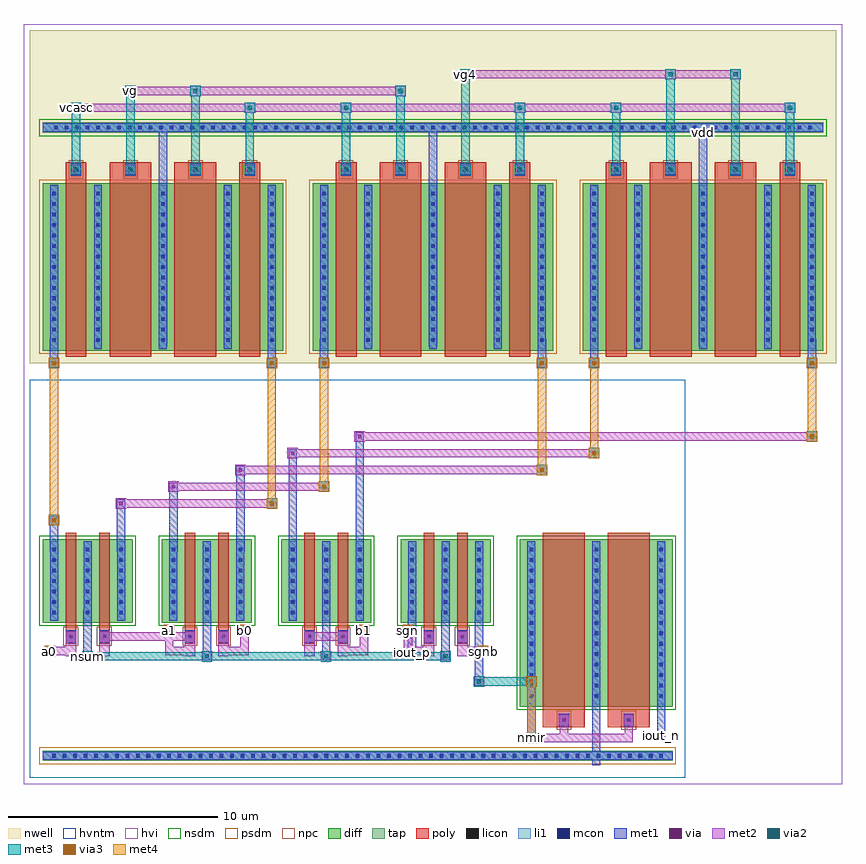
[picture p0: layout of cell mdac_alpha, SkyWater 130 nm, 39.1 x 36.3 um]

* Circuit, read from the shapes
.subckt mdac_alpha a0 a1 b0 b1 iout_n iout_p nmir nsum sgn sgnb vcasc vdd vg vg4
XM1 nsum a0 n1 VSUBS sky130_fd_pr__nfet_g5v0d10v5 w=4 l=0.5
XM2 n2 a1 nsum VSUBS sky130_fd_pr__nfet_g5v0d10v5 w=4 l=0.5
XM3 nsum a1 n3 VSUBS sky130_fd_pr__nfet_g5v0d10v5 w=4 l=0.5
XM4 n4 b0 nsum VSUBS sky130_fd_pr__nfet_g5v0d10v5 w=4 l=0.5
XM5 nsum b1 n5 VSUBS sky130_fd_pr__nfet_g5v0d10v5 w=4 l=0.5
XM6 n6 b1 nsum VSUBS sky130_fd_pr__nfet_g5v0d10v5 w=4 l=0.5
XM7 nsum sgn iout_p VSUBS sky130_fd_pr__nfet_g5v0d10v5 w=4 l=0.5
XM8 nmir sgnb nsum VSUBS sky130_fd_pr__nfet_g5v0d10v5 w=4 l=0.5
XM9 VSUBS nmir nmir VSUBS sky130_fd_pr__nfet_g5v0d10v5 w=8 l=2
XM10 iout_n nmir VSUBS VSUBS sky130_fd_pr__nfet_g5v0d10v5 w=8 l=2
XM11 n7 vcasc n1 vdd sky130_fd_pr__pfet_g5v0d10v5 w=8 l=1
XM12 vdd vg n7 vdd sky130_fd_pr__pfet_g5v0d10v5 w=8 l=2
XM13 n8 vg vdd vdd sky130_fd_pr__pfet_g5v0d10v5 w=8 l=2
XM14 n2 vcasc n8 vdd sky130_fd_pr__pfet_g5v0d10v5 w=8 l=1
XM15 n9 vcasc n3 vdd sky130_fd_pr__pfet_g5v0d10v5 w=8 l=1
XM16 vdd vg n9 vdd sky130_fd_pr__pfet_g5v0d10v5 w=8 l=2
XM17 n10 vg4 vdd vdd sky130_fd_pr__pfet_g5v0d10v5 w=8 l=2
XM18 n4 vcasc n10 vdd sky130_fd_pr__pfet_g5v0d10v5 w=8 l=1
XM19 n11 vcasc n5 vdd sky130_fd_pr__pfet_g5v0d10v5 w=8 l=1
XM20 vdd vg4 n11 vdd sky130_fd_pr__pfet_g5v0d10v5 w=8 l=2
XM21 n12 vg4 vdd vdd sky130_fd_pr__pfet_g5v0d10v5 w=8 l=2
XM22 n6 vcasc n12 vdd sky130_fd_pr__pfet_g5v0d10v5 w=8 l=1
.ends

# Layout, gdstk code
import gdstk
lib = gdstk.Library(unit=1e-6, precision=1e-09)
def R(c, l, rs):  # rectangles x0, y0, x1, y1
    for r in rs: c.add(gdstk.rectangle(r[:2], r[2:], *l))
def A(c, l, x, y, w, h, nx, ny, dx, dy):  # array of equal rectangles
    R(c, l, [(x+i*dx, y+j*dy, x+i*dx+w, y+j*dy+h) for i in range(nx) for j in range(ny)])
nwell = (64, 20)
diff = (65, 20)
tap = (65, 44)
poly = (66, 20)
licon = (66, 44)
li1 = (67, 20)
mcon = (67, 44)
met1 = (68, 20)
via = (68, 44)
met2 = (69, 20)
via2 = (69, 44)
met3 = (70, 20)
via3 = (70, 44)
met4 = (71, 20)
hvi = (75, 20)
nsdm = (93, 44)
psdm = (94, 20)
npc = (95, 20)
hvntm = (125, 20)

mdac_alpha = lib.new_cell('mdac_alpha')
R(mdac_alpha, nwell, [(0.4,2.4,38.9,18.3)])
A(mdac_alpha, diff, 1, -10, 4.3, 4, 4, 1, 5.7, 0)
A(mdac_alpha, diff, 1, 3, 11.5, 8, 3, 1, 12.9, 0)
R(mdac_alpha, diff, [(23.8,-14,31.1,-6)])
R(mdac_alpha, tap, [(1,-16.6,31.1,-16.1), (1,13.4,38.3,13.9)])
R(mdac_alpha, poly, [(24.9,-15,26.9,-14.3), (28,-15,30,-14.3), (24.9,-14.3,26.9,-5.7), (28,-14.3,30,-5.7), (2.1,-11,2.6,-10.3), (3.7,-11,4.2,-10.3), (7.8,-11,8.3,-10.3), (9.4,-11,9.9,-10.3), (13.5,-11,14,-10.3), (15.1,-11,15.6,-10.3), (19.2,-11,19.7,-10.3), (20.8,-11,21.3,-10.3), (2.1,-10.3,2.6,-5.7), (3.7,-10.3,4.2,-5.7), (7.8,-10.3,8.3,-5.7), (9.4,-10.3,9.9,-5.7), (13.5,-10.3,14,-5.7), (15.1,-10.3,15.6,-5.7), (19.2,-10.3,19.7,-5.7), (20.8,-10.3,21.3,-5.7), (2.1,2.7,3.1,12), (4.2,2.7,6.2,12), (7.3,2.7,9.3,12), (10.4,2.7,11.4,12), (15,2.7,16,12), (17.1,2.7,19.1,12), (20.2,2.7,22.2,12), (23.3,2.7,24.3,12), (27.9,2.7,28.9,12), (30,2.7,32,12), (33.1,2.7,35.1,12), (36.2,2.7,37.2,12)])
A(mdac_alpha, licon, 1.465, -16.435, 0.17, 0.17, 59, 1, 0.5, 0)
A(mdac_alpha, licon, 24.265, -13.585, 0.17, 0.17, 3, 15, 3.1, 0.5)
A(mdac_alpha, licon, 1.465, -9.585, 0.17, 0.17, 3, 7, 1.6, 0.5)
A(mdac_alpha, licon, 7.165, -9.585, 0.17, 0.17, 3, 7, 1.6, 0.5)
A(mdac_alpha, licon, 12.865, -9.585, 0.17, 0.17, 3, 7, 1.6, 0.5)
A(mdac_alpha, licon, 18.565, -9.585, 0.17, 0.17, 3, 7, 1.6, 0.5)
A(mdac_alpha, licon, 1.465, 3.415, 0.17, 0.17, 1, 15, 0, 0.5)
A(mdac_alpha, licon, 3.565, 3.415, 0.17, 0.17, 3, 15, 3.1, 0.5)
A(mdac_alpha, licon, 11.865, 3.415, 0.17, 0.17, 1, 15, 0, 0.5)
A(mdac_alpha, licon, 14.365, 3.415, 0.17, 0.17, 1, 15, 0, 0.5)
A(mdac_alpha, licon, 16.465, 3.415, 0.17, 0.17, 3, 15, 3.1, 0.5)
A(mdac_alpha, licon, 24.765, 3.415, 0.17, 0.17, 1, 15, 0, 0.5)
A(mdac_alpha, licon, 27.265, 3.415, 0.17, 0.17, 1, 15, 0, 0.5)
A(mdac_alpha, licon, 29.365, 3.415, 0.17, 0.17, 3, 15, 3.1, 0.5)
A(mdac_alpha, licon, 37.665, 3.415, 0.17, 0.17, 1, 15, 0, 0.5)
A(mdac_alpha, licon, 1.565, 13.565, 0.17, 0.17, 73, 1, 0.5, 0)
R(mdac_alpha, licon, [(25.815,-14.735,25.985,-14.565), (28.915,-14.735,29.085,-14.565), (2.265,-10.735,2.435,-10.565), (3.865,-10.735,4.035,-10.565), (7.965,-10.735,8.135,-10.565), (9.565,-10.735,9.735,-10.565), (13.665,-10.735,13.835,-10.565), (15.265,-10.735,15.435,-10.565), (19.365,-10.735,19.535,-10.565), (20.965,-10.735,21.135,-10.565), (2.515,11.565,2.685,11.735), (5.115,11.565,5.285,11.735), (8.215,11.565,8.385,11.735), (10.815,11.565,10.985,11.735), (15.415,11.565,15.585,11.735), (18.015,11.565,18.185,11.735), (21.115,11.565,21.285,11.735), (23.715,11.565,23.885,11.735), (28.315,11.565,28.485,11.735), (30.915,11.565,31.085,11.735), (34.015,11.565,34.185,11.735), (36.615,11.565,36.785,11.735)])
A(mdac_alpha, li1, 24.16, -13.9, 0.38, 7.8, 3, 1, 3.1, 0)
A(mdac_alpha, li1, 1.36, -9.9, 0.38, 3.8, 3, 1, 1.6, 0)
A(mdac_alpha, li1, 7.06, -9.9, 0.38, 3.8, 3, 1, 1.6, 0)
A(mdac_alpha, li1, 12.76, -9.9, 0.38, 3.8, 3, 1, 1.6, 0)
A(mdac_alpha, li1, 18.46, -9.9, 0.38, 3.8, 3, 1, 1.6, 0)
A(mdac_alpha, li1, 3.46, 3.1, 0.38, 7.8, 3, 1, 3.1, 0)
A(mdac_alpha, li1, 16.36, 3.1, 0.38, 7.8, 3, 1, 3.1, 0)
A(mdac_alpha, li1, 29.26, 3.1, 0.38, 7.8, 3, 1, 3.1, 0)
R(mdac_alpha, li1, [(1,-16.55,31.1,-16.15), (25.65,-14.95,26.15,-14.35), (28.75,-14.95,29.25,-14.35), (2.1,-10.95,2.6,-10.35), (3.7,-10.95,4.2,-10.35), (7.8,-10.95,8.3,-10.35), (9.4,-10.95,9.9,-10.35), (13.5,-10.95,14,-10.35), (15.1,-10.95,15.6,-10.35), (19.2,-10.95,19.7,-10.35), (20.8,-10.95,21.3,-10.35), (1.36,3.1,1.74,10.9), (11.76,3.1,12.14,10.9), (14.26,3.1,14.64,10.9), (24.66,3.1,25.04,10.9), (27.16,3.1,27.54,10.9), (37.56,3.1,37.94,10.9), (2.35,11.35,2.85,11.95), (4.95,11.35,5.45,11.95), (8.05,11.35,8.55,11.95), (10.65,11.35,11.15,11.95), (15.25,11.35,15.75,11.95), (17.85,11.35,18.35,11.95), (20.95,11.35,21.45,11.95), (23.55,11.35,24.05,11.95), (28.15,11.35,28.65,11.95), (30.75,11.35,31.25,11.95), (33.85,11.35,34.35,11.95), (36.45,11.35,36.95,11.95), (1,13.45,38.3,13.85)])
A(mdac_alpha, mcon, 1.465, -16.435, 0.17, 0.17, 59, 1, 0.5, 0)
A(mdac_alpha, mcon, 24.265, -13.585, 0.17, 0.17, 3, 15, 3.1, 0.5)
A(mdac_alpha, mcon, 1.465, -9.585, 0.17, 0.17, 3, 7, 1.6, 0.5)
A(mdac_alpha, mcon, 7.165, -9.585, 0.17, 0.17, 3, 7, 1.6, 0.5)
A(mdac_alpha, mcon, 12.865, -9.585, 0.17, 0.17, 3, 7, 1.6, 0.5)
A(mdac_alpha, mcon, 18.565, -9.585, 0.17, 0.17, 3, 7, 1.6, 0.5)
A(mdac_alpha, mcon, 1.465, 3.415, 0.17, 0.17, 1, 15, 0, 0.5)
A(mdac_alpha, mcon, 3.565, 3.415, 0.17, 0.17, 3, 15, 3.1, 0.5)
A(mdac_alpha, mcon, 11.865, 3.415, 0.17, 0.17, 1, 15, 0, 0.5)
A(mdac_alpha, mcon, 14.365, 3.415, 0.17, 0.17, 1, 15, 0, 0.5)
A(mdac_alpha, mcon, 16.465, 3.415, 0.17, 0.17, 3, 15, 3.1, 0.5)
A(mdac_alpha, mcon, 24.765, 3.415, 0.17, 0.17, 1, 15, 0, 0.5)
A(mdac_alpha, mcon, 27.265, 3.415, 0.17, 0.17, 1, 15, 0, 0.5)
A(mdac_alpha, mcon, 29.365, 3.415, 0.17, 0.17, 3, 15, 3.1, 0.5)
A(mdac_alpha, mcon, 37.665, 3.415, 0.17, 0.17, 1, 15, 0, 0.5)
A(mdac_alpha, mcon, 1.565, 13.565, 0.17, 0.17, 73, 1, 0.5, 0)
R(mdac_alpha, mcon, [(25.815,-14.735,25.985,-14.565), (28.915,-14.735,29.085,-14.565), (2.265,-10.735,2.435,-10.565), (3.865,-10.735,4.035,-10.565), (7.965,-10.735,8.135,-10.565), (9.565,-10.735,9.735,-10.565), (13.665,-10.735,13.835,-10.565), (15.265,-10.735,15.435,-10.565), (19.365,-10.735,19.535,-10.565), (20.965,-10.735,21.135,-10.565), (2.515,11.565,2.685,11.735), (5.115,11.565,5.285,11.735), (8.215,11.565,8.385,11.735), (10.815,11.565,10.985,11.735), (15.415,11.565,15.585,11.735), (18.015,11.565,18.185,11.735), (21.115,11.565,21.285,11.735), (23.715,11.565,23.885,11.735), (28.315,11.565,28.485,11.735), (30.915,11.565,31.085,11.735), (34.015,11.565,34.185,11.735), (36.615,11.565,36.785,11.735)])
A(mdac_alpha, met1, 24.16, -13.9, 0.38, 7.8, 3, 1, 3.1, 0)
A(mdac_alpha, met1, 2.95, -11.8, 0.4, 2.4, 4, 1, 5.7, 0)
A(mdac_alpha, met1, 2.96, -11.79, 0.38, 0.38, 4, 1, 5.7, 0)
A(mdac_alpha, met1, 1.36, -9.9, 0.38, 3.8, 3, 1, 1.6, 0)
A(mdac_alpha, met1, 7.06, -9.9, 0.38, 3.8, 3, 1, 1.6, 0)
A(mdac_alpha, met1, 12.76, -9.9, 0.38, 3.8, 3, 1, 1.6, 0)
A(mdac_alpha, met1, 18.46, -9.9, 0.38, 3.8, 3, 1, 1.6, 0)
A(mdac_alpha, met1, 3.46, 3.1, 0.38, 7.8, 3, 1, 3.1, 0)
A(mdac_alpha, met1, 16.36, 3.1, 0.38, 7.8, 3, 1, 3.1, 0)
A(mdac_alpha, met1, 29.26, 3.1, 0.38, 7.8, 3, 1, 3.1, 0)
A(mdac_alpha, met1, 6.55, 3.2, 0.4, 10.4, 3, 1, 12.9, 0)
R(mdac_alpha, met1, [(27.25,-16.8,27.65,-13.4), (1,-16.55,31.1,-16.15), (24.15,-15.7,24.55,-13.4), (24.16,-15.69,24.54,-15.31), (24.16,-15.69,24.54,-15.31), (30.35,-15.6,30.75,-13.4), (30.35,-15.6,30.75,-15.2), (25.65,-14.95,26.15,-14.35), (28.75,-14.95,29.25,-14.35), (25.71,-14.84,26.09,-14.46), (28.81,-14.84,29.19,-14.46), (21.65,-13,22.05,-9.4), (21.66,-12.99,22.04,-12.61), (18.45,-11.6,18.85,-9.4), (2.1,-10.95,2.6,-10.35), (3.7,-10.95,4.2,-10.35), (7.8,-10.95,8.3,-10.35), (9.4,-10.95,9.9,-10.35), (13.5,-10.95,14,-10.35), (15.1,-10.95,15.6,-10.35), (19.2,-10.95,19.7,-10.35), (20.8,-10.95,21.3,-10.35), (2.16,-10.84,2.54,-10.46), (3.76,-10.84,4.14,-10.46), (7.86,-10.84,8.24,-10.46), (9.46,-10.84,9.84,-10.46), (13.56,-10.84,13.94,-10.46), (15.16,-10.84,15.54,-10.46), (19.26,-10.84,19.64,-10.46), (20.86,-10.84,21.24,-10.46), (1.35,-6.6,1.75,-4.9), (4.55,-6.6,4.95,-4.1), (7.05,-6.6,7.45,-3.3), (10.25,-6.6,10.65,-2.5), (12.75,-6.6,13.15,-1.7), (15.95,-6.6,16.35,-0.9), (1.36,-5.29,1.74,-4.91), (4.56,-4.49,4.94,-4.11), (7.06,-3.69,7.44,-3.31), (10.26,-2.89,10.64,-2.51), (12.76,-2.09,13.14,-1.71), (15.96,-1.29,16.34,-0.91), (1.35,2.2,1.75,3.6), (11.75,2.2,12.15,3.6), (14.25,2.2,14.65,3.6), (24.65,2.2,25.05,3.6), (27.15,2.2,27.55,3.6), (37.55,2.2,37.95,3.6), (1.36,2.21,1.74,2.59), (11.76,2.21,12.14,2.59), (14.26,2.21,14.64,2.59), (24.66,2.21,25.04,2.59), (27.16,2.21,27.54,2.59), (37.56,2.21,37.94,2.59), (1.36,3.1,1.74,10.9), (11.76,3.1,12.14,10.9), (14.26,3.1,14.64,10.9), (24.66,3.1,25.04,10.9), (27.16,3.1,27.54,10.9), (37.56,3.1,37.94,10.9), (2.35,11.35,2.85,11.95), (4.95,11.35,5.45,11.95), (8.05,11.35,8.55,11.95), (10.65,11.35,11.15,11.95), (15.25,11.35,15.75,11.95), (17.85,11.35,18.35,11.95), (20.95,11.35,21.45,11.95), (23.55,11.35,24.05,11.95), (28.15,11.35,28.65,11.95), (30.75,11.35,31.25,11.95), (33.85,11.35,34.35,11.95), (36.45,11.35,36.95,11.95), (2.41,11.46,2.79,11.84), (5.01,11.46,5.39,11.84), (8.11,11.46,8.49,11.84), (10.71,11.46,11.09,11.84), (15.31,11.46,15.69,11.84), (17.91,11.46,18.29,11.84), (21.01,11.46,21.39,11.84), (23.61,11.46,23.99,11.84), (28.21,11.46,28.59,11.84), (30.81,11.46,31.19,11.84), (33.91,11.46,34.29,11.84), (36.51,11.46,36.89,11.84), (1,13.45,38.3,13.85)])
A(mdac_alpha, via, 3.075, -11.675, 0.15, 0.15, 4, 1, 5.7, 0)
R(mdac_alpha, via, [(24.275,-15.575,24.425,-15.425), (24.275,-15.575,24.425,-15.425), (25.825,-14.725,25.975,-14.575), (28.925,-14.725,29.075,-14.575), (21.775,-12.875,21.925,-12.725), (2.275,-10.725,2.425,-10.575), (3.875,-10.725,4.025,-10.575), (7.975,-10.725,8.125,-10.575), (9.575,-10.725,9.725,-10.575), (13.675,-10.725,13.825,-10.575), (15.275,-10.725,15.425,-10.575), (19.375,-10.725,19.525,-10.575), (20.975,-10.725,21.125,-10.575), (1.475,-5.175,1.625,-5.025), (4.675,-4.375,4.825,-4.225), (7.175,-3.575,7.325,-3.425), (10.375,-2.775,10.525,-2.625), (12.875,-1.975,13.025,-1.825), (16.075,-1.175,16.225,-1.025), (1.475,2.325,1.625,2.475), (11.875,2.325,12.025,2.475), (14.375,2.325,14.525,2.475), (24.775,2.325,24.925,2.475), (27.275,2.325,27.425,2.475), (37.675,2.325,37.825,2.475), (2.525,11.575,2.675,11.725), (5.125,11.575,5.275,11.725), (8.225,11.575,8.375,11.725), (10.825,11.575,10.975,11.725), (15.425,11.575,15.575,11.725), (18.025,11.575,18.175,11.725), (21.125,11.575,21.275,11.725), (23.725,11.575,23.875,11.725), (28.325,11.575,28.475,11.725), (30.925,11.575,31.075,11.725), (34.025,11.575,34.175,11.725), (36.625,11.575,36.775,11.725)])
R(mdac_alpha, met2, [(24.1,-15.75,24.6,-15.25), (24.1,-15.75,24.6,-15.25), (24.1,-15.75,24.6,-15.25), (24.15,-15.7,29.2,-15.3), (25.7,-15.7,26.1,-14.45), (28.8,-15.7,29.2,-14.45), (25.65,-14.9,26.15,-14.4), (28.75,-14.9,29.25,-14.4), (21.6,-13.05,22.1,-12.55), (21.6,-13.05,22.1,-12.55), (2.9,-11.85,3.4,-11.35), (2.9,-11.85,3.4,-11.35), (8.6,-11.85,9.1,-11.35), (8.6,-11.85,9.1,-11.35), (14.3,-11.85,14.8,-11.35), (14.3,-11.85,14.8,-11.35), (20,-11.85,20.5,-11.35), (20,-11.85,20.5,-11.35), (1.1,-11.6,1.6,-11.1), (2.1,-11.6,2.6,-10.4), (3.7,-11.6,4.2,-10.4), (7.8,-11.6,8.3,-10.4), (9.4,-11.6,9.9,-10.4), (13.5,-11.6,14,-10.4), (15.1,-11.6,15.6,-10.4), (19.2,-11.6,19.7,-10.4), (20.8,-11.6,21.3,-10.4), (21.8,-11.6,22.3,-11.1), (1.15,-11.55,1.55,-11.15), (1.15,-11.55,2.55,-11.15), (6.85,-11.55,8.25,-11.15), (6.85,-11.55,7.25,-10.15), (9.45,-11.55,10.85,-11.15), (10.45,-11.55,10.85,-10.15), (15.15,-11.55,16.55,-11.15), (16.15,-11.55,16.55,-10.15), (18.25,-11.55,19.65,-11.15), (18.25,-11.55,18.65,-10.15), (20.85,-11.55,22.25,-11.15), (21.85,-11.55,22.25,-11.15), (2.1,-10.9,2.6,-10.4), (3.7,-10.9,4.2,-10.4), (7.8,-10.9,8.3,-10.4), (9.4,-10.9,9.9,-10.4), (13.5,-10.9,14,-10.4), (15.1,-10.9,15.6,-10.4), (19.2,-10.9,19.7,-10.4), (20.8,-10.9,21.3,-10.4), (3.75,-10.85,8.25,-10.45), (13.55,-10.85,15.55,-10.45), (6.8,-10.6,7.3,-10.1), (10.4,-10.6,10.9,-10.1), (16.1,-10.6,16.6,-10.1), (18.2,-10.6,18.7,-10.1), (1.3,-5.35,1.8,-4.85), (1.3,-5.35,1.8,-4.85), (1.35,-5.3,1.75,-4.9), (4.5,-4.55,5,-4.05), (11.7,-4.55,12.2,-4.05), (4.55,-4.5,12.15,-4.1), (7,-3.75,7.5,-3.25), (14.2,-3.75,14.7,-3.25), (7.05,-3.7,14.65,-3.3), (10.2,-2.95,10.7,-2.45), (24.6,-2.95,25.1,-2.45), (10.25,-2.9,25.05,-2.5), (12.7,-2.15,13.2,-1.65), (27.1,-2.15,27.6,-1.65), (12.75,-2.1,27.55,-1.7), (15.9,-1.35,16.4,-0.85), (37.5,-1.35,38,-0.85), (15.95,-1.3,37.95,-0.9), (1.3,2.15,1.8,2.65), (1.3,2.15,1.8,2.65), (11.7,2.15,12.2,2.65), (11.7,2.15,12.2,2.65), (14.2,2.15,14.7,2.65), (14.2,2.15,14.7,2.65), (24.6,2.15,25.1,2.65), (24.6,2.15,25.1,2.65), (27.1,2.15,27.6,2.65), (27.1,2.15,27.6,2.65), (37.5,2.15,38,2.65), (37.5,2.15,38,2.65), (2.35,11.4,2.85,11.9), (2.35,11.4,2.85,11.9), (4.95,11.4,5.45,11.9), (4.95,11.4,5.45,11.9), (8.05,11.4,8.55,11.9), (8.05,11.4,8.55,11.9), (10.65,11.4,11.15,11.9), (10.65,11.4,11.15,11.9), (15.25,11.4,15.75,11.9), (15.25,11.4,15.75,11.9), (17.85,11.4,18.35,11.9), (17.85,11.4,18.35,11.9), (20.95,11.4,21.45,11.9), (20.95,11.4,21.45,11.9), (23.55,11.4,24.05,11.9), (23.55,11.4,24.05,11.9), (28.15,11.4,28.65,11.9), (28.15,11.4,28.65,11.9), (30.75,11.4,31.25,11.9), (30.75,11.4,31.25,11.9), (33.85,11.4,34.35,11.9), (33.85,11.4,34.35,11.9), (36.45,11.4,36.95,11.9), (36.45,11.4,36.95,11.9), (2.35,14.35,2.85,14.85), (10.65,14.35,11.15,14.85), (15.25,14.35,15.75,14.85), (23.55,14.35,24.05,14.85), (28.15,14.35,28.65,14.85), (36.45,14.35,36.95,14.85), (2.4,14.4,36.9,14.8), (4.95,15.15,5.45,15.65), (8.05,15.15,8.55,15.65), (17.85,15.15,18.35,15.65), (5,15.2,18.3,15.6), (20.95,15.95,21.45,16.45), (30.75,15.95,31.25,16.45), (33.85,15.95,34.35,16.45), (21,16,34.3,16.4)])
A(mdac_alpha, via2, 3.05, -11.7, 0.2, 0.2, 4, 1, 5.7, 0)
R(mdac_alpha, via2, [(24.25,-15.6,24.45,-15.4), (21.75,-12.9,21.95,-12.7), (1.25,-11.45,1.45,-11.25), (21.95,-11.45,22.15,-11.25), (6.95,-10.45,7.15,-10.25), (10.55,-10.45,10.75,-10.25), (16.25,-10.45,16.45,-10.25), (18.35,-10.45,18.55,-10.25), (1.45,-5.2,1.65,-5), (11.85,-4.4,12.05,-4.2), (14.35,-3.6,14.55,-3.4), (24.75,-2.8,24.95,-2.6), (27.25,-2,27.45,-1.8), (37.65,-1.2,37.85,-1), (1.45,2.3,1.65,2.5), (11.85,2.3,12.05,2.5), (14.35,2.3,14.55,2.5), (24.75,2.3,24.95,2.5), (27.25,2.3,27.45,2.5), (37.65,2.3,37.85,2.5), (2.5,11.55,2.7,11.75), (5.1,11.55,5.3,11.75), (8.2,11.55,8.4,11.75), (10.8,11.55,11,11.75), (15.4,11.55,15.6,11.75), (18,11.55,18.2,11.75), (21.1,11.55,21.3,11.75), (23.7,11.55,23.9,11.75), (28.3,11.55,28.5,11.75), (30.9,11.55,31.1,11.75), (34,11.55,34.2,11.75), (36.6,11.55,36.8,11.75), (2.5,14.5,2.7,14.7), (10.8,14.5,11,14.7), (15.4,14.5,15.6,14.7), (23.7,14.5,23.9,14.7), (28.3,14.5,28.5,14.7), (36.6,14.5,36.8,14.7), (5.1,15.3,5.3,15.5), (8.2,15.3,8.4,15.5), (18,15.3,18.2,15.5), (21.1,16.1,21.3,16.3), (30.9,16.1,31.1,16.3), (34,16.1,34.2,16.3)])
A(mdac_alpha, met3, 2.9, -11.85, 0.5, 0.5, 4, 1, 5.7, 0)
R(mdac_alpha, met3, [(24.1,-15.75,24.6,-15.25), (24.1,-15.75,24.6,-15.25), (21.6,-13.05,22.1,-12.55), (24.1,-13.05,24.6,-12.55), (21.65,-13,24.55,-12.6), (2.95,-11.8,20.45,-11.4), (1.1,-11.6,1.6,-11.1), (1.1,-11.6,1.6,-11.1), (21.8,-11.6,22.3,-11.1), (21.8,-11.6,22.3,-11.1), (6.8,-10.6,7.3,-10.1), (6.8,-10.6,7.3,-10.1), (10.4,-10.6,10.9,-10.1), (10.4,-10.6,10.9,-10.1), (16.1,-10.6,16.6,-10.1), (16.1,-10.6,16.6,-10.1), (18.2,-10.6,18.7,-10.1), (18.2,-10.6,18.7,-10.1), (1.3,-5.35,1.8,-4.85), (1.3,-5.35,1.8,-4.85), (11.7,-4.55,12.2,-4.05), (11.7,-4.55,12.2,-4.05), (14.2,-3.75,14.7,-3.25), (14.2,-3.75,14.7,-3.25), (24.6,-2.95,25.1,-2.45), (24.6,-2.95,25.1,-2.45), (27.1,-2.15,27.6,-1.65), (27.1,-2.15,27.6,-1.65), (37.5,-1.35,38,-0.85), (37.5,-1.35,38,-0.85), (1.3,2.15,1.8,2.65), (1.3,2.15,1.8,2.65), (11.7,2.15,12.2,2.65), (11.7,2.15,12.2,2.65), (14.2,2.15,14.7,2.65), (14.2,2.15,14.7,2.65), (24.6,2.15,25.1,2.65), (24.6,2.15,25.1,2.65), (27.1,2.15,27.6,2.65), (27.1,2.15,27.6,2.65), (37.5,2.15,38,2.65), (37.5,2.15,38,2.65), (2.35,11.4,2.85,11.9), (4.95,11.4,5.45,11.9), (8.05,11.4,8.55,11.9), (10.65,11.4,11.15,11.9), (15.25,11.4,15.75,11.9), (17.85,11.4,18.35,11.9), (20.95,11.4,21.45,11.9), (23.55,11.4,24.05,11.9), (28.15,11.4,28.65,11.9), (30.75,11.4,31.25,11.9), (33.85,11.4,34.35,11.9), (36.45,11.4,36.95,11.9), (2.4,11.45,2.8,14.8), (5,11.45,5.4,15.6), (8.1,11.45,8.5,15.6), (10.7,11.45,11.1,14.8), (15.3,11.45,15.7,14.8), (17.9,11.45,18.3,15.6), (21,11.45,21.4,16.4), (23.6,11.45,24,14.8), (28.2,11.45,28.6,14.8), (30.8,11.45,31.2,16.4), (33.9,11.45,34.3,16.4), (36.5,11.45,36.9,14.8), (2.35,14.35,2.85,14.85), (10.65,14.35,11.15,14.85), (15.25,14.35,15.75,14.85), (23.55,14.35,24.05,14.85), (28.15,14.35,28.65,14.85), (36.45,14.35,36.95,14.85), (4.95,15.15,5.45,15.65), (8.05,15.15,8.55,15.65), (17.85,15.15,18.35,15.65), (20.95,15.95,21.45,16.45), (30.75,15.95,31.25,16.45), (33.85,15.95,34.35,16.45)])
R(mdac_alpha, via3, [(24.25,-15.6,24.45,-15.4), (24.25,-12.9,24.45,-12.7), (1.25,-11.45,1.45,-11.25), (21.95,-11.45,22.15,-11.25), (6.95,-10.45,7.15,-10.25), (10.55,-10.45,10.75,-10.25), (16.25,-10.45,16.45,-10.25), (18.35,-10.45,18.55,-10.25), (1.45,-5.2,1.65,-5), (11.85,-4.4,12.05,-4.2), (14.35,-3.6,14.55,-3.4), (24.75,-2.8,24.95,-2.6), (27.25,-2,27.45,-1.8), (37.65,-1.2,37.85,-1), (1.45,2.3,1.65,2.5), (11.85,2.3,12.05,2.5), (14.35,2.3,14.55,2.5), (24.75,2.3,24.95,2.5), (27.25,2.3,27.45,2.5), (37.65,2.3,37.85,2.5)])
R(mdac_alpha, met4, [(24.1,-15.75,24.6,-15.25), (24.15,-15.7,24.55,-12.6), (24.1,-13.05,24.6,-12.55), (1.1,-11.6,1.6,-11.1), (21.8,-11.6,22.3,-11.1), (6.8,-10.6,7.3,-10.1), (10.4,-10.6,10.9,-10.1), (16.1,-10.6,16.6,-10.1), (18.2,-10.6,18.7,-10.1), (1.3,-5.35,1.8,-4.85), (1.35,-5.3,1.75,2.6), (11.7,-4.55,12.2,-4.05), (11.75,-4.5,12.15,2.6), (14.2,-3.75,14.7,-3.25), (14.25,-3.7,14.65,2.6), (24.6,-2.95,25.1,-2.45), (24.65,-2.9,25.05,2.6), (27.1,-2.15,27.6,-1.65), (27.15,-2.1,27.55,2.6), (37.5,-1.35,38,-0.85), (37.55,-1.3,37.95,2.6), (1.3,2.15,1.8,2.65), (11.7,2.15,12.2,2.65), (14.2,2.15,14.7,2.65), (24.6,2.15,25.1,2.65), (27.1,2.15,27.6,2.65), (37.5,2.15,38,2.65)])
R(mdac_alpha, hvi, [(0.1,-17.7,39.2,18.6)])
A(mdac_alpha, nsdm, 0.85, -10.15, 4.6, 4.3, 4, 1, 5.7, 0)
R(mdac_alpha, nsdm, [(23.65,-14.15,31.25,-5.85), (0.85,13.25,38.45,14.05)])
A(mdac_alpha, psdm, 0.85, 2.85, 11.8, 8.3, 3, 1, 12.9, 0)
R(mdac_alpha, psdm, [(0.85,-16.75,31.25,-15.95)])
R(mdac_alpha, npc, [(25.55,-15.1,26.25,-14.2), (28.65,-15.1,29.35,-14.2), (2,-11.1,2.7,-10.2), (3.6,-11.1,4.3,-10.2), (7.7,-11.1,8.4,-10.2), (9.3,-11.1,10,-10.2), (13.4,-11.1,14.1,-10.2), (15,-11.1,15.7,-10.2), (19.1,-11.1,19.8,-10.2), (20.7,-11.1,21.4,-10.2), (2.25,11.2,2.95,12.1), (4.85,11.2,5.55,12.1), (7.95,11.2,8.65,12.1), (10.55,11.2,11.25,12.1), (15.15,11.2,15.85,12.1), (17.75,11.2,18.45,12.1), (20.85,11.2,21.55,12.1), (23.45,11.2,24.15,12.1), (28.05,11.2,28.75,12.1), (30.65,11.2,31.35,12.1), (33.75,11.2,34.45,12.1), (36.35,11.2,37.05,12.1)])
R(mdac_alpha, hvntm, [(0.4,-17.4,31.7,1.6)])
mdac_alpha.add(gdstk.Label('iout_p', (18.65,-11.4), layer=68, texttype=5))
mdac_alpha.add(gdstk.Label('iout_n', (30.55,-15.4), layer=68, texttype=5))
mdac_alpha.add(gdstk.Label('vdd', (32.55,13.4), layer=68, texttype=5))
mdac_alpha.add(gdstk.Label('sgnb', (22.05,-11.35), layer=71, texttype=5))
mdac_alpha.add(gdstk.Label('sgn', (18.45,-10.35), layer=71, texttype=5))
mdac_alpha.add(gdstk.Label('b1', (16.35,-10.35), layer=71, texttype=5))
mdac_alpha.add(gdstk.Label('b0', (10.65,-10.35), layer=71, texttype=5))
mdac_alpha.add(gdstk.Label('a1', (7.05,-10.35), layer=71, texttype=5))
mdac_alpha.add(gdstk.Label('a0', (1.35,-11.35), layer=71, texttype=5))
mdac_alpha.add(gdstk.Label('nmir', (24.35,-15.5), layer=69, texttype=5))
mdac_alpha.add(gdstk.Label('nsum', (3.15,-11.6), layer=69, texttype=5))
mdac_alpha.add(gdstk.Label('vg4', (21.2,16.2), layer=69, texttype=5))
mdac_alpha.add(gdstk.Label('vg', (5.2,15.4), layer=69, texttype=5))
mdac_alpha.add(gdstk.Label('vcasc', (2.6,14.6), layer=69, texttype=5))

lib.write_gds('mdac_alpha.gds')
